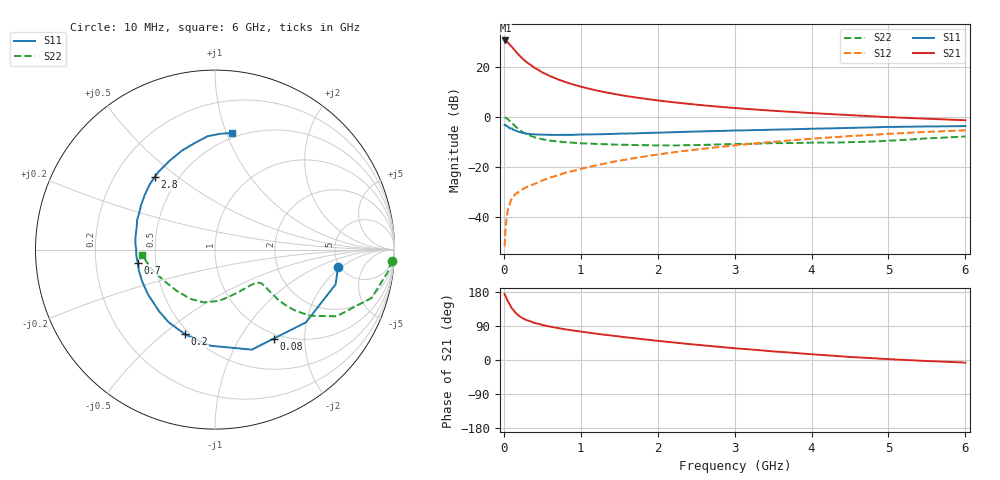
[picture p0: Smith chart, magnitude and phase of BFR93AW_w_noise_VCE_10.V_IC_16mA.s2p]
! Infineon Technologies  Discrete & RF Semiconductors
! BFR93AW
! VCE =  10. V,  IC =  16 mA
! Common Emitter S-Parameters:  Jan 2017
# GHz  S  MA  R  50
!  f  S11  S21  S12  S22
! GHz  MAG  ANG  MAG  ANG  MAG  ANG  MAG  ANG
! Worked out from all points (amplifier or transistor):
!   77 points, 10 MHz to 6 GHz, reference 50 ohm
!   highest |S21| = 30.6 dB at 20 MHz (marker M1)
!   |S21| within 3 dB of that: start of sweep to 116.3 MHz
!   unconditionally stable (mu >= 1): 761.3 MHz to 2.075 GHz
!   at 130 MHz: K = 0.38, MSG = 29.4 dB, |S12| = -31.6 dB
!   at 2.2 GHz: K = 0.99, MSG = 10.0 dB, |S12| = -14.2 dB
!   at 6 GHz: K = 0.85, MSG = 2.0 dB, |S12| = -5.3 dB
!   lowest NFmin = 1.41 dB at 450 MHz
!   S11 on the Smith chart (normalised r, x): 10 MHz: 4.81, -1.78; 80 MHz: 0.92, -1.42; 200 MHz: 0.47, -0.59; 700 MHz: 0.39, -0.07; 2.8 GHz: 0.37, +0.41; 6 GHz: 0.46, +1.05
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0.01  0.6919 -8.0  33.87 174.4  0.0026 81.6  0.9865 -3.6
0.02  0.6995 -16.0  33.98 169.7  0.0051 86.3  0.9711 -7.4
0.05  0.6491 -38.6  31.23 155.8  0.0133 72.8  0.9128 -17.2
0.08  0.5939 -56.7  27.6 145.7  0.0189 66.3  0.8249 -23.6
0.1  0.5939 -69.8  25.77 137.5  0.0227 63.7  0.7732 -28.7
0.15  0.5361 -92.8  20.86 124.9  0.0287 58.4  0.6467 -34.8
0.2  0.5002 -109.7  17.12 116.1  0.0321 55.2  0.5568 -37.4
0.25  0.4799 -122.7  14.42 109.6  0.0363 55.3  0.4942 -38.3
0.3  0.4637 -132.3  12.35 104.9  0.0399 55.8  0.4475 -38.4
0.4  0.4491 -146.4  9.612 97.7  0.0458 58.0  0.3912 -37.6
0.5  0.4427 -156.5  7.809 92.5  0.0535 60.3  0.3579 -36.7
0.6  0.44 -164.4  6.593 88.1  0.0613 62.2  0.3366 -36.2
0.7  0.4371 -170.4  5.686 84.4  0.0676 63.9  0.3228 -36.0
0.9  0.4394 179.6  4.468 77.8  0.0832 65.7  0.3052 -37.2
1.1  0.4482 171.7  3.705 72.3  0.1 67.1  0.2942 -39.3
1.5  0.464 159.4  2.772 62.1  0.1331 67.2  0.2788 -46.4
2.1  0.4902 144.3  2.057 48.6  0.1863 64.8  0.2701 -62.0
2.8  0.5251 129.9  1.602 34.7  0.2505 60.3  0.2827 -82.8
3.1  0.5392 123.9  1.474 29.5  0.2791 57.8  0.2887 -91.1
4.1  0.5857 106.7  1.175 13.8  0.3763 48.3  0.3058 -119.4
5.1  0.6351 92.4  0.978 1.3  0.4684 37.3  0.3408 -152.9
6  0.6566 81.6  0.86 -6.9  0.542 26.8  0.4075 -176.1
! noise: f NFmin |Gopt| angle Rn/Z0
0.45  1.41  0.12  146  0.13
0.9  1.69  0.23  168  0.14
1.9  2.69  0.47  -141  0.21
2.4  3.31  0.54  -127  0.41
